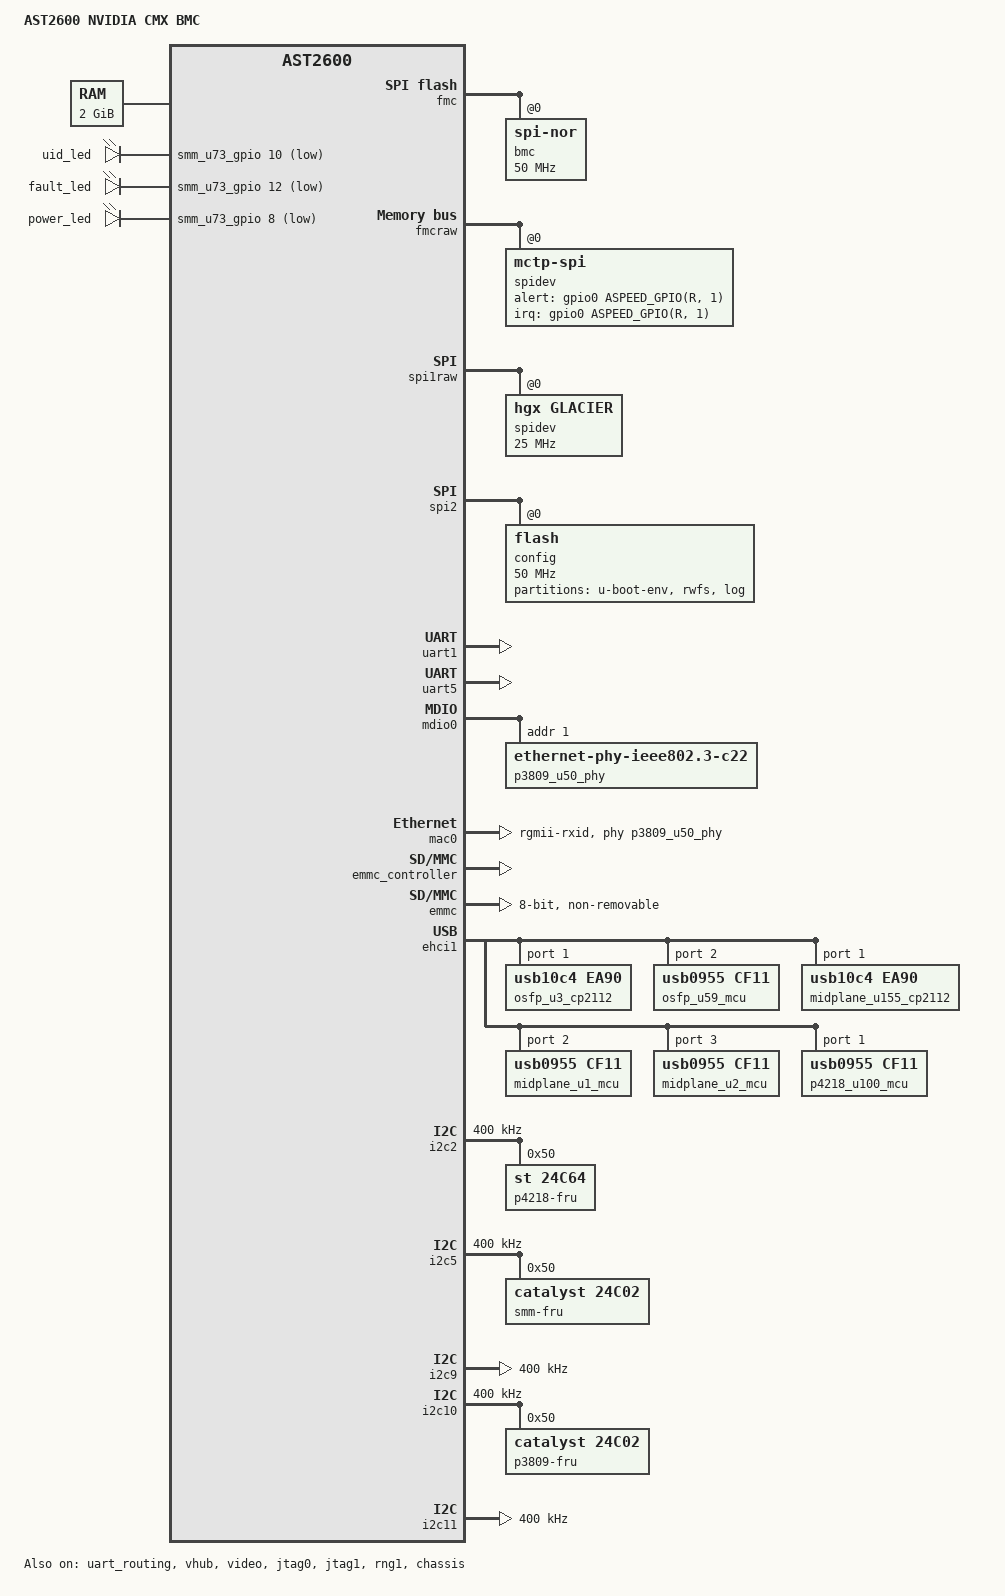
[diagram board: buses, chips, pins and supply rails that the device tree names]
// SPDX-License-Identifier: GPL-2.0+
/dts-v1/;

#include "nvidia-vc-bmc-cmx-core.dtsi"
#include <dt-bindings/i2c/i2c.h>
#include <dt-bindings/leds/common.h>

/ {
	model = "AST2600 NVIDIA CMX BMC";
	compatible = "aspeed,ast2600";

	aliases {
		serial2 = &uart3;
		serial4 = &uart5;

		i2c132 = &osfp_u3_cp2112_i2c;
		i2c133 = &osfp_u59_cx0_i2c;
		i2c134 = &midplane_u155_cp2112_i2c;
		i2c135 = &osfp_u59_cx1_i2c;
	};

	chosen {
		/* The OF console parser expects a path or alias string with options. */
		stdout-path = "serial4:115200n8";
	};

	memory@80000000 {
		device_type = "memory";
		reg = <0x80000000 0x80000000>;
	};

	reserved-memory {
		#address-cells = <1>;
		#size-cells = <1>;
		ranges;

		vga_memory: framebuffer@9f000000 {
			no-map;
			reg = <0x9f000000 0x01000000>; /* 16M */
		};

		ramoops@a0000000 {
			compatible = "ramoops";
			reg = <0xa0000000 0x100000>; /* 1MB */
			record-size = <0x10000>; /* 64KB */
			max-reason = <2>; /* KMSG_DUMP_OOPS */
		};

		gfx_memory: framebuffer {
			size = <0x01000000>;
			alignment = <0x01000000>;
			compatible = "shared-dma-pool";
			reusable;
		};

		video_engine_memory: jpegbuffer {
			size = <0x02000000>;	/* 32M */
			alignment = <0x01000000>;
			compatible = "shared-dma-pool";
			reusable;
		};
	};

	leds {
		compatible = "gpio-leds";
		uid_led {
			gpios = <&smm_u73_gpio 10 GPIO_ACTIVE_LOW>;
		};
		fault_led {
			gpios = <&smm_u73_gpio 12 GPIO_ACTIVE_LOW>;
		};
		power_led {
			gpios = <&smm_u73_gpio 8 GPIO_ACTIVE_LOW>;
		};
	};

	buttons {
		power-btn {
			gpio = <&smm_u73_gpio 9 GPIO_ACTIVE_LOW>;
		};
		uid-btn {
			gpio = <&smm_u73_gpio 11 GPIO_ACTIVE_LOW>;
		};
	};

};

/* Enabled Primary flash on FMC for bring up activity */
&fmc {
	status = "okay";
	flash@0 {
		status = "okay";
		compatible = "jedec,spi-nor";
		label = "bmc";
		spi-max-frequency = <50000000>;
#include "aspeed-bmc-nvidia-gh-flash-layout-64.dtsi"
	};
};

&fmcraw {
	status = "okay";
	spidev@0 {
		compatible = "mctp-spi";
		alert-gpio = <&gpio0 ASPEED_GPIO(R, 1) GPIO_ACTIVE_HIGH>;
		interrupts-extended = <&gpio0 ASPEED_GPIO(R, 1) IRQ_TYPE_LEVEL_HIGH>;
		status = "okay";
	};
};

&spi1raw {
	status = "okay";
	pinctrl-names = "default";
	pinctrl-0 = <&pinctrl_spi1_default>;
	spidev@0 {
		spi-max-frequency = <25000000>;
		compatible = "hgx,glacier";
		status = "okay";
	};
};

&spi2 {
	status = "okay";
	pinctrl-names = "default";
	pinctrl-0 = <&pinctrl_spi2_default>;

	/* Data SPI is 64MB in size */
	flash@0 {
		status = "okay";
		label = "config";
		spi-max-frequency = <50000000>;
		partitions {
			compatible = "fixed-partitions";
			#address-cells = <1>;
			#size-cells = <1>;

			u-boot-env@0 {
				reg = <0x0 0x40000>; /* 256KB at offset 0 */
				label = "u-boot-env";
			};

			rwfs@40000 {
				reg = <0x40000 0x1000000>; /* 16MB at offset 0x40000 */
				label = "rwfs";
			};

			log@1040000 {
				reg = <0x1040000 0x2800000>; /* 40MB at offset 0x1040000 */
				label = "log"; /* Move log to EMMC, make this unused */
			};
		};
	};
};

&uart1 {
	status = "okay";
};

&uart5 {
	/* BMC Debug Console */
	status = "okay";
};

&uart_routing {
	status = "okay";
};

/*
 * MAC1 (per schematics, 1-based MAC1-MAC4) of AST2600 connected to external PHY
 * This is "mac0" in zero-based DTS
 */
&mdio0 {
	status = "okay";
	/* P3809 U50 RTL8211FSI-CG RGMII-to-SGMII Ethernet PHY. */
	p3809_u50_phy: ethernet-phy@1 {
		compatible = "ethernet-phy-ieee802.3-c22";
		reg = <1>;
	};
};

&mac0 {
	status = "okay";
	pinctrl-names = "default";
	phy-mode = "rgmii-rxid";
	max-speed = <1000>;
	phy-handle = <&p3809_u50_phy>;
	pinctrl-0 = <&pinctrl_rgmii1_default>;
};

/* Enable emmc */
&emmc_controller {
	status = "okay";
};

&emmc {
	non-removable;
	pinctrl-0 = <&pinctrl_emmcg9_default>;
	bus-width = <8>;
	max-frequency = <52000000>;
	clk-phase-mmc-hs200 = <9>, <225>;
};

/* Enable USB port A as device (via the virtual hub) to host */
&vhub {
	status = "okay";
	pinctrl-names = "default";
};

&video {
	status = "okay";
	memory-region = <&video_engine_memory>;
};

/*
 * USB 2.0 management topology on AST2600 port B:
 *
 *   U54 root hub
 *   |-- port 2: U20 OSFP hub
 *   |   |-- port 1: U3 CP2112
 *   |   |-- port 2: U59 shared CX9 SMA
 *   |   `-- port 3: U184 drive-midplane hub
 *   |       |-- port 1: U155 CP2112
 *   |       |-- port 2: U1 storage SMA
 *   |       `-- port 3: U2 storage SMA
 *   `-- port 3: P4218 U125 hub
 *       |-- port 1: P4218 U100 SMA
 *       |-- port 2: U216 CP2108
 *       |-- port 3: Vera USB MCTP or external USB-C through U1263
 *       `-- port 4: optional air-cooling endpoint
 */
&ehci1 {
	status = "okay";
	#address-cells = <1>;
	#size-cells = <0>;

	/* P3809 U54 USX2064 four-port root management USB hub. */
	p3809_u54_hub: hub@1 {
		reg = <1>;
		#address-cells = <1>;
		#size-cells = <0>;

		/* OSFP U20 USX2064 hub for board and drive-midplane management. */
		osfp_u20_hub: hub@2 {
			reg = <2>;
			#address-cells = <1>;
			#size-cells = <0>;

			osfp_u3_cp2112: device@1 {
				reg = <1>;
			};

			osfp_u59_mcu: device@2 {
				reg = <2>;
			};

			/* Drive-midplane U184 USX2064 hub for the CP2112 and storage MCUs. */
			midplane_u184_hub: hub@3 {
				reg = <3>;
				#address-cells = <1>;
				#size-cells = <0>;

				midplane_u155_cp2112: device@1 {
					reg = <1>;
				};

				midplane_u1_mcu: device@2 {
					reg = <2>;
				};

				midplane_u2_mcu: device@3 {
					reg = <3>;
				};
			};
		};

		/* P4218 U125 USX2064 four-port management USB hub. */
		p4218_u125_hub: hub@3 {
			reg = <3>;
			#address-cells = <1>;
			#size-cells = <0>;

			p4218_u100_mcu: device@1 {
				reg = <1>;
			};
		};
	};
};

/* OSFP U3 CP2112 provides board FRU access and independent MCU recovery GPIOs. */
&osfp_u3_cp2112 {
	compatible = "usb10c4,ea90";

	osfp_u3_cp2112_i2c: i2c {
		#address-cells = <1>;
		#size-cells = <0>;

		/* OSFP U21 BR24G128FJ board FRU EEPROM. */
		osfp_u21_fru: eeprom@57 {
			compatible = "rohm,24c128", "atmel,24c128";
			reg = <0x57>;
			label = "osfp-fru";
		};
	};
};

/*
 * OSFP U59 MCXN556 manages both ConnectX-9 devices. Its USB composite
 * function provides MCTP plus LSTP I2C channels for the two CX GW0 buses.
 */
&osfp_u59_mcu {
	compatible = "usb0955,cf11";
	#address-cells = <2>;
	#size-cells = <0>;

	interface@2 {
		reg = <2 1>;
		#address-cells = <1>;
		#size-cells = <0>;

		osfp_u59_cx0_i2c: channel@1 {
			compatible = "nvidia,lstp-i2c";
			reg = <1>;
			#address-cells = <1>;
			#size-cells = <0>;
		};

		osfp_u59_cx1_i2c: channel@2 {
			compatible = "nvidia,lstp-i2c";
			reg = <2>;
			#address-cells = <1>;
			#size-cells = <0>;
		};
	};
};

/* Midplane U155 CP2112 provides FRU/ISP access and recovery GPIOs for U1/U2. */
&midplane_u155_cp2112 {
	compatible = "usb10c4,ea90";
	gpio-controller;
	interrupt-controller;
	#gpio-cells = <2>;
	#interrupt-cells = <2>;
	gpio-line-names =
		"MIDP_MCU0_RST_L-O",
		"MIDP_MCU0_RECOVERY_L-O",
		"MIDP_MCU1_RST_L-O",
		"MIDP_MCU1_RECOVERY_L-O",
		"", "", "MIDP_GLOBAL_WP-O", "";

	midplane_u155_cp2112_i2c: i2c {
		#address-cells = <1>;
		#size-cells = <0>;

		/* Drive-midplane U156 BR24G128FJ FRU EEPROM. */
		midplane_u156_fru: eeprom@54 {
			compatible = "rohm,24c128", "atmel,24c128";
			reg = <0x54>;
			label = "midplane-fru";
		};

		/* Drive-midplane U190 PCA9546 MCU ISP mux. */
		midplane_u190_isp_mux: i2c-mux@70 {
			compatible = "nxp,pca9546";
			reg = <0x70>;
			#address-cells = <1>;
			#size-cells = <0>;
		};
	};
};

/*
 * Midplane U1 MCXN556 is the USB MCTP endpoint for drives 0 through 7.
 * Its eight downstream SSD SMBus links are MCU-owned and are not LSTP buses.
 */
&midplane_u1_mcu {
	compatible = "usb0955,cf11";
};

/*
 * Midplane U2 MCXN556 is intended to manage populated drives 8 through 11.
 * The shared eight-link USB MCTP firmware has no LSTP buses; mapping is unresolved.
 */
&midplane_u2_mcu {
	compatible = "usb0955,cf11";
};

/*
 * P4218 U100 MCXN556 provides USB MCTP and bridges two downstream I3C endpoints.
 * LSTP has management and unsafe raw flash SPI only; SPI is omitted intentionally.
 */
&p4218_u100_mcu {
	compatible = "usb0955,cf11";
};

/* I2C1 is not populated; current P4218 MCU firmware has no SSIF LSTP channel. */
&i2c0 {
	status = "disabled";
};

/* I2C2 is not part of the CMX L10 management topology. */
&i2c1 {
	status = "disabled";
};

/* I2C3, P4218 MGMT0 */
&i2c2 {
	status = "okay";
	clock-frequency = <400000>;
	i2c-scl-clk-low-timeout-us = <32000>;
	i2c-tck-thddat-config = <0x0099EC00>;

	/* P4218 U1343 M24C64 BMC FRU EEPROM. */
	p4218_u1343_fru: eeprom@50 {
		compatible = "st,24c64", "atmel,24c64";
		reg = <0x50>;
		label = "p4218-fru";
	};
};

/* I2C4 is test-point-only on the SMM carrier. */
&i2c3 {
	status = "disabled";
};

/* I2C5 is test-point-only on the SMM carrier. */
&i2c4 {
	status = "disabled";
};

/* I2C6 serves SMM-local GPIO, temperature, and FRU devices. */
&i2c5 {
	status = "okay";
	clock-frequency = <400000>;
	i2c-scl-clk-low-timeout-us = <32000>;
	i2c-tck-thddat-config = <0x0099EC00>;

	/* SMM U43 CAT34C02 carrier FRU EEPROM. */
	smm_u43_fru: eeprom@50 {
		compatible = "catalyst,24c02", "atmel,24c02";
		reg = <0x50>;
		label = "smm-fru";
	};
};

/* I2C7 is test-point-only on the SMM carrier. */
&i2c6 {
	status = "disabled";
};

/* I2C8 is test-point-only on the SMM carrier. */
&i2c7 {
	status = "disabled";
};

/* I2C9 is an SSIF/test pair with no active target. */
&i2c8 {
	status = "disabled";
};

/*
 * I2C10
 * PDB
 */
&i2c9 {
	status = "okay";
	clock-frequency = <400000>;
	i2c-tck-thddat-config = <0x0099EC00>;

};

/*
 * I2C11
 * BMC FRU EEPROM
 * BMC Temp Sensor
 */
&i2c10 {
	status = "okay";
	clock-frequency = <400000>;
	i2c-tck-thddat-config = <0x0099EC00>;
	/* P3809 U43 CAT34C02 BMC FRU EEPROM. */
	p3809_u43_fru: eeprom@50 {
		compatible = "catalyst,24c02", "atmel,24c02";
		reg = <0x50>;
		label = "p3809-fru";
	};
};

/* I2C12 serves the SMM Ethernet switch management segment. */
&i2c11 {
	status = "ok";
	clock-frequency = <400000>;
};

/* I2C13 is test-point-only on the SMM carrier. */
&i2c12 {
	status = "disabled";
};

/* I2C14 is test-point-only on the SMM carrier. */
&i2c13 {
	status = "disabled";
};

/* I2C15 is a non-addressed SMM LED-control stuffing option. */
&i2c14 {
	status = "disabled";
};

/* I2C16 has only no-stuff reserve button aliases. */
&i2c15 {
	status = "disabled";
};

&jtag0 {
	status = "okay";
};

&jtag1 {
	status = "okay";
};

&rng1 {
	status = "okay";
};

&chassis {
	status = "okay";
};
